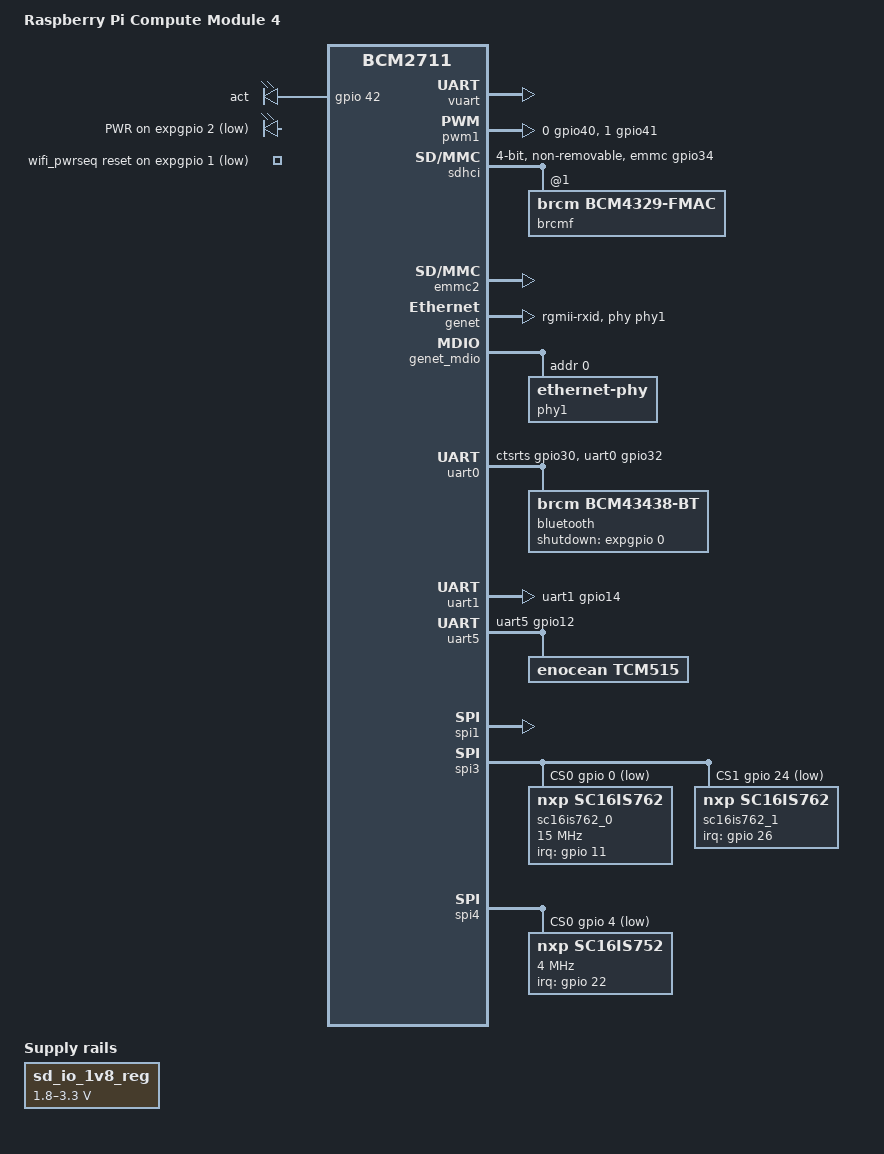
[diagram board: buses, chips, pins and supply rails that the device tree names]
// SPDX-License-Identifier: GPL-2.0
/* SOO.tech */

/dts-v1/;
#include "bcm2711.dtsi"
#include "bcm2835-rpi.dtsi"
#include "bcm283x-rpi-usb-peripheral.dtsi"

#include <dt-bindings/reset/raspberrypi,firmware-reset.h>
#include <dt-bindings/soo/soo-mp-v2.h>

#include "../soo.dtsi"

/ {
	compatible = "raspberrypi,4-compute-module", "brcm,bcm2711";
	model = "Raspberry Pi Compute Module 4";

	chosen {
	 	/* bootargs = "console=ttyAMA0,115200n8 root=/dev/ram rw slub_debug=PUZ"; */
		/*  bootargs = "coherent_pool=1M 8250.nr_uarts=1 cma=64M cma=256M  smsc95xx.macaddr=DC:A6:32:18:DD:95 vc_mem.mem_base=0x3ec00000 vc_mem.mem_size=0x40000000  console=serial0,115200 console=tty1 root=/dev/ram elevator=deadline fsck.repair=yes rootwait"; */
		/* bootargs = "initcall_debug=1 ignore_loglevel coherent_pool=1M 8250.nr_uarts=1 cma=64M cma=256M  smsc95xx.macaddr=DC:A6:32:18:DD:95 vc_mem.mem_base=0x3ec00000 vc_mem.mem_size=0x40000000  console=ttyS0,115200 root=/dev/ram fsck.repair=yes rootwait"; */
		bootargs = "coherent_pool=1M 8250.nr_uarts=1 cma=64M cma=256M  smsc95xx.macaddr=DC:A6:32:18:DD:95 vc_mem.mem_base=0x3ec00000 vc_mem.mem_size=0x40000000  console=ttyS0,115200 root=/dev/ram fsck.repair=yes rootwait";
#if 0 /* SOO.tech */
		/* 8250 auxiliary UART instead of pl011 */
		stdout-path = "serial1:115200n8";
#endif
	   };
	   
	/* Will be filled by the bootloader */
	memory@0 {
		device_type = "memory";
		reg = <0 0 0>;
	};

	aliases {
		serial0 = &uart1;
		serial1 = &uart0;
		mmc0 = &emmc2;
		mmc2 = &sdhost;
		i2c3 = &i2c3;
		i2c4 = &i2c4;
		i2c5 = &i2c5;
		i2c6 = &i2c6;
		spi3 = &spi3;
		spi4 = &spi4;
		/delete-property/ ethernet;
		/delete-property/ intc;
		ethernet0 = &genet;
		pcie0 = &pcie0;
	};

	leds {
		act {
			gpios = <&gpio 42 GPIO_ACTIVE_HIGH>;
		};

		pwr {
			label = "PWR";
			gpios = <&expgpio 2 GPIO_ACTIVE_LOW>;
		};
	};

	wifi_pwrseq: wifi-pwrseq {
		compatible = "mmc-pwrseq-simple";
		reset-gpios = <&expgpio 1 GPIO_ACTIVE_LOW>;
	};

	sd_io_1v8_reg: sd_io_1v8_reg {
		compatible = "regulator-gpio";
		regulator-name = "vdd-sd-io";
		regulator-min-microvolt = <1800000>;
		regulator-max-microvolt = <3300000>;
		regulator-boot-on;
		regulator-always-on;
		regulator-settling-time-us = <5000>;
		gpios = <&expgpio 4 GPIO_ACTIVE_HIGH>;
		states = <1800000 0x1
			  3300000 0x0>;
		status = "okay";
	};
};

&agency {
	
	/* Backends */
	backends {
		
		vuart {
			status = "ok";
		};
			
		vuihandler {
			status = "ok";
		};
				
		vsenseled {
			status = "ok";
		};
				
		vsensej {
			status = "ok";
		};

		vwagoled {
			status = "ok";
		};

		venocean {
			status = "ok";
		};

		vknx {
			status = "ok";
		};

	};

};

&pcie0 {
	pci@1,0 {
		#address-cells = <3>;
		#size-cells = <2>;
		ranges;

		reg = <0 0 0 0 0>;

		usb@1,0 {
			reg = <0x10000 0 0 0 0>;
			resets = <&reset RASPBERRYPI_FIRMWARE_RESET_ID_USB>;
		};
	};
};

&gpio {
	spi0_pins: spi0_pins {
		brcm,pins = <9 10 11>;
		brcm,function = <BCM2835_FSEL_ALT0>;
	};

	spi0_cs_pins: spi0_cs_pins {
		brcm,pins = <8 7>;
		brcm,function = <BCM2835_FSEL_GPIO_OUT>;
	};
    
    /* SOO.tech: Added SPI1 pin conf */
    spi1_pins: spi1_pins {
		brcm,pins = <19 20 21>;
		brcm,function = <BCM2835_FSEL_ALT4>;
	};

	spi1_cs_pins: spi1_cs_pins {
		brcm,pins = <18>;
		brcm,function = <BCM2835_FSEL_GPIO_OUT>;
	};


	spi3_pins: spi3_pins {
		brcm,pins = <1 2 3>;
		brcm,function = <BCM2835_FSEL_ALT3>;
	};

	spi3_cs_pins: spi3_cs_pins {
		brcm,pins = <0 24>;
		brcm,function = <BCM2835_FSEL_GPIO_OUT>;
	};

	spi4_pins: spi4_pins {
		brcm,pins = <5 6 7>;
		brcm,function = <BCM2835_FSEL_ALT3>;
	};

	spi4_cs_pins: spi4_cs_pins {
		brcm,pins = <4 25>;
		brcm,function = <BCM2835_FSEL_GPIO_OUT>;
	};

	spi5_pins: spi5_pins {
		brcm,pins = <13 14 15>;
		brcm,function = <BCM2835_FSEL_ALT3>;
	};

	spi5_cs_pins: spi5_cs_pins {
		brcm,pins = <12 26>;
		brcm,function = <BCM2835_FSEL_GPIO_OUT>;
	};

	spi6_pins: spi6_pins {
		brcm,pins = <19 20 21>;
		brcm,function = <BCM2835_FSEL_ALT3>;
	};

	spi6_cs_pins: spi6_cs_pins {
		brcm,pins = <18 27>;
		brcm,function = <BCM2835_FSEL_GPIO_OUT>;
	};

	i2c0_pins: i2c0 {
		brcm,pins = <0 1>;
		brcm,function = <BCM2835_FSEL_ALT0>;
		brcm,pull = <BCM2835_PUD_UP>;
	};

	i2c1_pins: i2c1 {
		brcm,pins = <2 3>;
		brcm,function = <BCM2835_FSEL_ALT0>;
		brcm,pull = <BCM2835_PUD_UP>;
	};

	i2c3_pins: i2c3 {
		brcm,pins = <4 5>;
		brcm,function = <BCM2835_FSEL_ALT5>;
		brcm,pull = <BCM2835_PUD_UP>;
	};

	i2c4_pins: i2c4 {
       
	 /* SOO.tech */
        brcm,pins = <6 7>;
#if 0
		brcm,pins = <8 9>;
#endif
		brcm,function = <BCM2835_FSEL_ALT5>;
		brcm,pull = <BCM2835_PUD_UP>;
	};

	i2c5_pins: i2c5 {
		brcm,pins = <12 13>;
		brcm,function = <BCM2835_FSEL_ALT5>;
		brcm,pull = <BCM2835_PUD_UP>;
	};

	i2c6_pins: i2c6 {
		brcm,pins = <22 23>;
		brcm,function = <BCM2835_FSEL_ALT5>;
		brcm,pull = <BCM2835_PUD_UP>;
	};

	i2s_pins: i2s {
		brcm,pins = <18 19 20 21>;
		brcm,function = <BCM2835_FSEL_ALT0>;
	};

	sdio_pins: sdio_pins {
		brcm,pins =     <34 35 36 37 38 39>;
		brcm,function = <BCM2835_FSEL_ALT3>; // alt3 = SD1
		brcm,pull =     <0 2 2 2 2 2>;
	};

	bt_pins: bt_pins {
		brcm,pins = "-"; // non-empty to keep btuart happy, //4 = 0
				 // to fool pinctrl
		brcm,function = <0>;
		brcm,pull = <2>;
	};

	uart0_pins: uart0_pins {
		brcm,pins = <32 33>;
		brcm,function = <BCM2835_FSEL_ALT3>;
		brcm,pull = <0 2>;
	};

	uart1_pins: uart1_pins {
		brcm,pins;
		brcm,function;
		brcm,pull;
	};

	uart2_pins: uart2_pins {
		brcm,pins = <0 1>;
		brcm,function = <BCM2835_FSEL_ALT4>;
		brcm,pull = <0 2>;
	};

	uart3_pins: uart3_pins {
		brcm,pins = <4 5>;
		brcm,function = <BCM2835_FSEL_ALT4>;
		brcm,pull = <0 2>;
	};

	uart4_pins: uart4_pins {
		brcm,pins = <8 9>;
		brcm,function = <BCM2835_FSEL_ALT4>;
		brcm,pull = <0 2>;
	};

	uart5_pins: uart5_pins {
		brcm,pins = <12 13>;
		brcm,function = <BCM2835_FSEL_ALT4>;
		brcm,pull = <0 2>;
	};

	audio_pins: audio_pins {
		brcm,pins = <40 41>;
		brcm,function = <4>;
	};
};

/*
&soc {
    virtgpio: virtgpio {
        compatible = "brcm,bcm2835-virtgpio";
        gpio-controller;
        #gpio-cells = <2>;
        firmware = <&firmware>;
        status = "okay";
    };
};
*/
/*
&mmcnr {
    pinctrl-names = "default";
    pinctrl-0 = <&sdio_pins>;
    bus-width = <4>;
    status = "disabled";
};*/

&firmware {
	expgpio: gpio {
		compatible = "raspberrypi,firmware-gpio";
		gpio-controller;
		#gpio-cells = <2>;
		gpio-line-names = "BT_ON",
				  "WL_ON",
				  "PWR_LED_OFF",
				  "GLOBAL_RESET",
				  "VDD_SD_IO_SEL",
				  "CAM_GPIO",
				  "",
				  "";
		status = "okay";
	};

	reset: reset {
		compatible = "raspberrypi,firmware-reset";
		#reset-cells = <1>;
	};
};

&pwm1 {
	pinctrl-names = "default";
	pinctrl-0 = <&pwm1_0_gpio40 &pwm1_1_gpio41>;
	status = "okay";
};

/* SDHCI is used to control the SDIO for wireless */
&sdhci {
	#address-cells = <1>;
	#size-cells = <0>;
	pinctrl-names = "default";
	pinctrl-0 = <&emmc_gpio34>;
	bus-width = <4>;
	non-removable;
	mmc-pwrseq = <&wifi_pwrseq>;
	status = "okay";

	brcmf: wifi@1 {
		reg = <1>;
		compatible = "brcm,bcm4329-fmac";
	};
};

/* EMMC2 is used to drive the SD card */
&emmc2 {
	vqmmc-supply = <&sd_io_1v8_reg>;
	broken-cd;
	status = "okay";
};

&genet {
	phy-handle = <&phy1>;
	phy-mode = "rgmii-rxid";
	status = "okay";
};

#if 0
&genet_mdio {
	phy1: ethernet-phy@1 {
		/* No PHY interrupt */
		reg = <0x1>;
	};
};
#else
/** SOO.tech **/
&genet_mdio {
	phy1: ethernet-phy@0 {
		/* No PHY interrupt */
		reg = <0x0>;
	};
};
#endif

/* uart0 communicates with the BT module */
&uart0 {
	pinctrl-names = "default";
	pinctrl-0 = <&uart0_ctsrts_gpio30 &uart0_gpio32>;
	uart-has-rtscts;
	status = "okay";

	bluetooth {
		compatible = "brcm,bcm43438-bt";
		max-speed = <2000000>;
		shutdown-gpios = <&expgpio 0 GPIO_ACTIVE_HIGH>;
	};
};

/* uart1 is mapped to the pin header */
&uart1 {
	pinctrl-names = "default";
	pinctrl-0 = <&uart1_gpio14>;
	status = "okay";
};

/* UART5 used for enOcean communication */
&uart5 {
	pinctrl-names = "default";
	pinctrl-0 = <&uart5_gpio12>;
	status = "okay";

	enocean {
		type = <NORMAL_UART>;
		compatible = "enocean,tcm515";
		current-speed = <57600>;
	};
};	

&spi1 {
	status = "okay";
	cs-gpios = <&gpio 18 GPIO_ACTIVE_LOW>;
	num-cs = <1>;
};

/ {
	sc16is762_clk: sc16is762_clk {
		compatible = "fixed-clock";
		#clock-cells = <0>;
		clock-frequency = <1843200>;
	};

	__overrides__ {
		xtal = <&sc16is762_clk>,"clock-frequency:0";
	};
};

&spi3 {
	#address-cells = <1>;
	#size-cells = <0>;
	pinctrl-names = "default";
	pinctrl-0 = <&spi3_pins &spi3_cs_pins>;
	cs-gpios = <&gpio 0 GPIO_ACTIVE_LOW>, <&gpio 24 GPIO_ACTIVE_LOW>;
	status = "okay";

#if 1
	sc16is762_0: sc16is762@0 {
		compatible = "nxp,sc16is762";
		reg = <0>; /* CE0 */
		clocks = <&sc16is762_clk>;
		interrupt-parent = <&gpio>;
		interrupts = <11 IRQ_TYPE_EDGE_FALLING>; /* IRQ_TYPE_EDGE_FALLING */
		gpio-controller;
		#gpio-cells = <2>;
		spi-max-frequency = <15000000>;

		#address-cells = <1>;
   		#size-cells = <0>;
		status = "okay";
#if 0 // both children		
		/** These are place holder **/
		wmbus@0 {
			reg = <0>;
			type = <SPI_UART>;
#if 0
			/** TODO: implement wmbus serdev **/
			port = <WMBUS_UART_PORT>;
			wmbus {
				compatible ="wmbus";
				current-speed = <57600>;
			};
#endif
		};

#if 0
		/** These are place holder **/
		modbus@1 {
			reg = <1>;
			type = <SPI_UART>;
#if 0
			/** TODO: implement modbus serdev **/
			port = <MODBUS_UART_PORT>;
			modbus {
				compatible = "modbus";
				current-speed = <57600>;
			};
#endif
		};
#endif // modbus        
#endif // both children        
	};
#endif //sc16is762_0     

	sc16is762_1: sc16is762@1 {
		compatible = "nxp,sc16is762";
		reg = <1>; /* CE1 */
		clocks = <&sc16is762_clk>;
		interrupt-parent = <&gpio>;
		interrupts = <26 IRQ_TYPE_EDGE_FALLING>; /* IRQ_TYPE_EDGE_FALLING */
		gpio-controller;
		#gpio-cells = <2>;
		// spi-max-frequency = <15000000>;

		#address-cells = <1>;
   		#size-cells = <0>;
		status = "okay";
		
		/** These are place holder **/
		knx@2 {
			reg = <2>;
			type = <SPI_UART>;
#if 1           
			port = <KNX_UART_PORT>;
			knx {
				compatible ="knx,kberry838";
				current-speed = <19200>;
			};
#endif            
		};

#if 0
		mbus@3 {
			reg = <3>;
			type = <SPI_UART>;
#if 0			
			/** TODO: implement mbus serdev **/
			port = <MBUS_UART_PORT>;
			mbus {
				compatible = "mbus";
				current-speed = <57600>;
			};
#endif
		};
#endif        
	};
};

/ {
	sc16is752_clk: sc16is752_clk {
		compatible = "fixed-clock";
		#clock-cells = <0>;
		clock-frequency = <1843200>;
	};

	__overrides__ {
		xtal = <&sc16is752_clk>,"clock-frequency:0";
	};
};

#if 1
&spi4 {
	status = "okay";
	#address-cells = <1>;
	#size-cells = <0>;
	pinctrl-names = "default";
	pinctrl-0 = <&spi4_pins &spi4_cs_pins>;
	cs-gpios = <&gpio 4 GPIO_ACTIVE_LOW>;

	sc16is752: sc16is752@0 {
		compatible = "nxp,sc16is752";
		reg = <0>; /* CE0 */
		clocks = <&sc16is752_clk>;
		interrupt-parent = <&gpio>;
		interrupts = <22 IRQ_TYPE_EDGE_FALLING>; /* IRQ_TYPE_EDGE_FALLING */
		gpio-controller;
		#gpio-cells = <2>;
		spi-max-frequency = <4000000>;

		#address-cells = <1>;
   		#size-cells = <0>;
		status = "okay";
#if 0		
		zigbee@0 {
      		reg = <0>;
			type = <SPI_UART>;
#if 0
			/** TODO: implement zigbee serdev **/
			port = <ZIGBEE_UART_PORT>;
     		zigbee {
         		compatible = "zigbee";
         		current-speed = <57600>;
      		};
#endif
   		};
#endif        

   		lora@1 {
      		reg = <1>;
			type = <SPI_UART>;
#if 1
			port = <LORA_UART_PORT>;
      		lora {
         		compatible = "lora,mipot32001353";
         		current-speed = <115200>;
      		};
#endif
   		};
	};
};
#endif

&vchiq {
	interrupts = <GIC_SPI 34 IRQ_TYPE_LEVEL_HIGH>;
};
